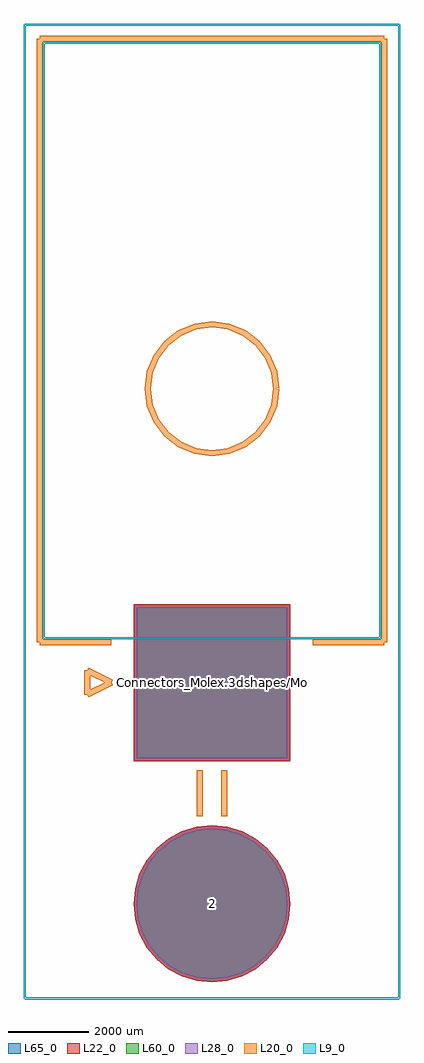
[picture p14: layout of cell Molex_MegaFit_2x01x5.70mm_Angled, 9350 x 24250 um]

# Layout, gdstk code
import gdstk
lib = gdstk.Library(unit=1e-6, precision=1e-09)
def R(c, l, rs):  # rectangles x0, y0, x1, y1
    for r in rs: c.add(gdstk.rectangle(r[:2], r[2:], *l))
def P(c, l, *ps):  # polygons
    for p in ps: c.add(gdstk.Polygon(p, *l))
L9_0 = (9, 0)
L20_0 = (20, 0)
L22_0 = (22, 0)
L28_0 = (28, 0)
L60_0 = (60, 0)
L65_0 = (65, 0)

molex_megafit_2x01x5_70m = lib.new_cell('Molex_MegaFit_2x01x5.70mm_Angled')
R(molex_megafit_2x01x5_70m, L22_0, [(-1950,-1950,1950,1950)])
P(molex_megafit_2x01x5_70m, L22_0, [(1950,-5500),(1912.531,-5119.574),(1801.565,-4753.767),(1621.366,-4416.638),(1378.858,-4121.142),(1083.362,-3878.634),(746.233,-3698.435),(380.426,-3587.469),(0,-3550),(-380.426,-3587.469),(-746.233,-3698.435),(-1083.362,-3878.634),(-1378.858,-4121.142),(-1621.366,-4416.638),(-1801.565,-4753.767),(-1912.531,-5119.574),(-1950,-5500),(-1912.531,-5880.426),(-1801.565,-6246.233),(-1621.366,-6583.362),(-1378.858,-6878.858),(-1083.362,-7121.366),(-746.233,-7301.565),(-380.426,-7412.531),(0,-7450),(380.426,-7412.531),(746.233,-7301.565),(1083.362,-7121.366),(1378.858,-6878.858),(1621.366,-6583.362),(1801.565,-6246.233),(1912.531,-5880.426)])
R(molex_megafit_2x01x5_70m, L28_0, [(-1875,-1875,1875,1875)])
P(molex_megafit_2x01x5_70m, L28_0, [(1875,-5500),(1838.972,-5134.206),(1732.274,-4782.469),(1559.006,-4458.306),(1325.825,-4174.175),(1041.694,-3940.994),(717.531,-3767.726),(365.794,-3661.028),(0,-3625),(-365.794,-3661.028),(-717.531,-3767.726),(-1041.694,-3940.994),(-1325.825,-4174.175),(-1559.006,-4458.306),(-1732.274,-4782.469),(-1838.972,-5134.206),(-1875,-5500),(-1838.972,-5865.794),(-1732.274,-6217.531),(-1559.006,-6541.694),(-1325.825,-6825.825),(-1041.694,-7059.006),(-717.531,-7232.274),(-365.794,-7338.972),(0,-7375),(365.794,-7338.972),(717.531,-7232.274),(1041.694,-7059.006),(1325.825,-6825.825),(1559.006,-6541.694),(1732.274,-6217.531),(1838.972,-5865.794)])
R(molex_megafit_2x01x5_70m, L60_0, [(-1875,-1875,1875,1875)])
P(molex_megafit_2x01x5_70m, L60_0, [(1875,-5500),(1838.972,-5134.206),(1732.274,-4782.469),(1559.006,-4458.306),(1325.825,-4174.175),(1041.694,-3940.994),(717.531,-3767.726),(365.794,-3661.028),(0,-3625),(-365.794,-3661.028),(-717.531,-3767.726),(-1041.694,-3940.994),(-1325.825,-4174.175),(-1559.006,-4458.306),(-1732.274,-4782.469),(-1838.972,-5134.206),(-1875,-5500),(-1838.972,-5865.794),(-1732.274,-6217.531),(-1559.006,-6541.694),(-1325.825,-6825.825),(-1041.694,-7059.006),(-717.531,-7232.274),(-365.794,-7338.972),(0,-7375),(365.794,-7338.972),(717.531,-7232.274),(1041.694,-7059.006),(1325.825,-6825.825),(1559.006,-6541.694),(1732.274,-6217.531),(1838.972,-5865.794)])
R(molex_megafit_2x01x5_70m, L65_0, [(-1950,-1950,1950,1950)])
P(molex_megafit_2x01x5_70m, L65_0, [(1950,-5500),(1912.531,-5119.574),(1801.565,-4753.767),(1621.366,-4416.638),(1378.858,-4121.142),(1083.362,-3878.634),(746.233,-3698.435),(380.426,-3587.469),(0,-3550),(-380.426,-3587.469),(-746.233,-3698.435),(-1083.362,-3878.634),(-1378.858,-4121.142),(-1621.366,-4416.638),(-1801.565,-4753.767),(-1912.531,-5119.574),(-1950,-5500),(-1912.531,-5880.426),(-1801.565,-6246.233),(-1621.366,-6583.362),(-1378.858,-6878.858),(-1083.362,-7121.366),(-746.233,-7301.565),(-380.426,-7412.531),(0,-7450),(380.426,-7412.531),(746.233,-7301.565),(1083.362,-7121.366),(1378.858,-6878.858),(1621.366,-6583.362),(1801.565,-6246.233),(1912.531,-5880.426)])
molex_megafit_2x01x5_70m.add(gdstk.FlexPath([(4650,16350),(-4650,16350)], 50, ends="flush", simple_path=True, layer=9, datatype=0))  # L9_0
molex_megafit_2x01x5_70m.add(gdstk.FlexPath([(4650,-7850),(4650,16350)], 50, ends="flush", simple_path=True, layer=9, datatype=0))  # L9_0
molex_megafit_2x01x5_70m.add(gdstk.FlexPath([(-4650,-7850),(4650,-7850)], 50, ends="flush", simple_path=True, layer=9, datatype=0))  # L9_0
molex_megafit_2x01x5_70m.add(gdstk.FlexPath([(-4650,16350),(-4650,-7850)], 50, ends="flush", simple_path=True, layer=9, datatype=0))  # L9_0
molex_megafit_2x01x5_70m.add(gdstk.FlexPath([(-3100,300),(-2500,0)], 149.998, ends="flush", simple_path=True, layer=20, datatype=0))  # L20_0
molex_megafit_2x01x5_70m.add(gdstk.FlexPath([(-3100,-300),(-3100,300)], 149.998, ends="flush", simple_path=True, layer=20, datatype=0))  # L20_0
molex_megafit_2x01x5_70m.add(gdstk.FlexPath([(-2500,0),(-3100,-300)], 149.998, ends="flush", simple_path=True, layer=20, datatype=0))  # L20_0
molex_megafit_2x01x5_70m.add(gdstk.FlexPath([(300,-2175),(300,-3325)], 149.998, ends="flush", simple_path=True, layer=20, datatype=0))  # L20_0
molex_megafit_2x01x5_70m.add(gdstk.FlexPath([(-300,-2175),(-300,-3325)], 149.998, ends="flush", simple_path=True, layer=20, datatype=0))  # L20_0
molex_megafit_2x01x5_70m.add(gdstk.FlexPath([(4275,1000),(2500,1000)], 149.998, ends="flush", simple_path=True, layer=20, datatype=0))  # L20_0
molex_megafit_2x01x5_70m.add(gdstk.FlexPath([(4275,16000),(4275,1000)], 149.998, ends="flush", simple_path=True, layer=20, datatype=0))  # L20_0
molex_megafit_2x01x5_70m.add(gdstk.FlexPath([(0,16000),(4275,16000)], 149.998, ends="flush", simple_path=True, layer=20, datatype=0))  # L20_0
molex_megafit_2x01x5_70m.add(gdstk.FlexPath([(-4275,1000),(-2500,1000)], 149.998, ends="flush", simple_path=True, layer=20, datatype=0))  # L20_0
molex_megafit_2x01x5_70m.add(gdstk.FlexPath([(-4275,16000),(-4275,1000)], 149.998, ends="flush", simple_path=True, layer=20, datatype=0))  # L20_0
molex_megafit_2x01x5_70m.add(gdstk.FlexPath([(0,16000),(-4275,16000)], 149.998, ends="flush", simple_path=True, layer=20, datatype=0))  # L20_0
molex_megafit_2x01x5_70m.add(gdstk.FlexPath([(4175,15900),(-4175,15900)], 50, ends="flush", simple_path=True, layer=9, datatype=0))  # L9_0
molex_megafit_2x01x5_70m.add(gdstk.FlexPath([(4175,1100),(4175,15900)], 50, ends="flush", simple_path=True, layer=9, datatype=0))  # L9_0
molex_megafit_2x01x5_70m.add(gdstk.FlexPath([(-4175,1100),(4175,1100)], 50, ends="flush", simple_path=True, layer=9, datatype=0))  # L9_0
molex_megafit_2x01x5_70m.add(gdstk.FlexPath([(-4175,15900),(-4175,1100)], 50, ends="flush", simple_path=True, layer=9, datatype=0))  # L9_0
molex_megafit_2x01x5_70m.add(gdstk.FlexPath([(1600,7300),(1545.481,7714.11),(1385.641,8100),(1131.371,8431.371),(800,8685.641),(414.11,8845.481),(0,8900),(-414.11,8845.481),(-800,8685.641),(-1131.371,8431.371),(-1385.641,8100),(-1545.481,7714.11),(-1600,7300),(-1545.481,6885.89),(-1385.641,6500),(-1131.371,6168.629),(-800,5914.359),(-414.11,5754.519),(0,5700),(414.11,5754.519),(800,5914.359),(1131.371,6168.629),(1385.641,6500),(1545.481,6885.89),(1600,7300)], 149.998, ends="flush", simple_path=True, layer=20, datatype=0))  # L20_0
molex_megafit_2x01x5_70m.add(gdstk.Label('Connectors_Molex.3dshapes/Molex_MegaFit_2x01x5.70mm_Angled.wrl', (0,0), layer=12, texttype=0))
molex_megafit_2x01x5_70m.add(gdstk.Label('2', (0,-5500), layer=28, texttype=0))
molex_megafit_2x01x5_70m.add(gdstk.Label('1', (0,0), layer=28, texttype=0))
molex_megafit_2x01x5_70m.add(gdstk.Label('type', (0,-10500), layer=9, texttype=0))
molex_megafit_2x01x5_70m.add(gdstk.Label('devicename', (0,-9000), layer=9, texttype=0))

lib.write_gds('Molex_MegaFit_2x01x5.70mm_Angled.gds')
